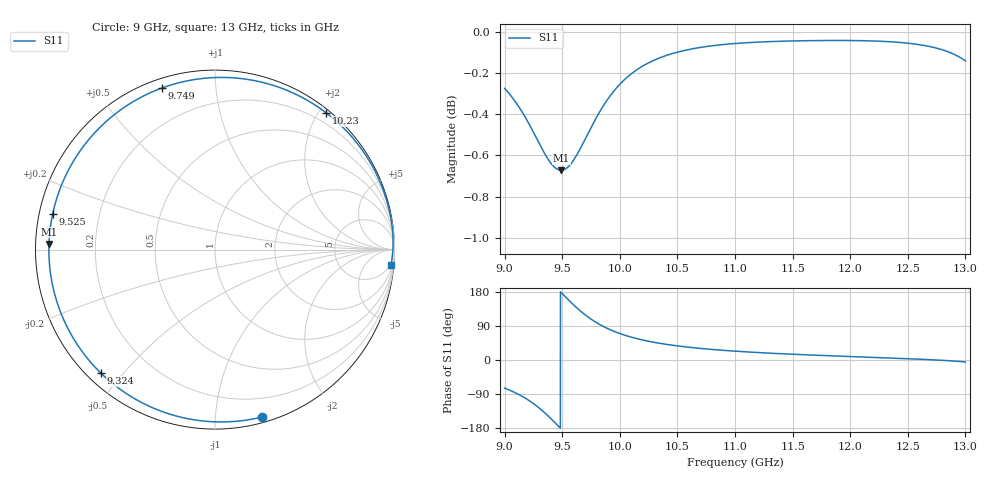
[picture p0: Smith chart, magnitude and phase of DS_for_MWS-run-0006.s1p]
! TOUCHSTONE file generated by CST DESIGN STUDIO
! Date and time: Tue Feb  4 16:22:54 2025
! Project name: C:\Work\MatlabApps\UnitCellOptimizationMatlab\CST\unitcell.cst
! Tree item: Tasks\Sweep1\SPara1\S-Parameters
! Header version: 2024
! Port assignment regex: !\s*Touchstone port\s*([0-9]+)\s*=\s*(CST MWS port|CST DES external port|CST DES block port)\s*(.+)\s* \(\"(.*)\"\)(\s*mode\s*([0-9]+))?.*
! Touchstone port assignment:
! Touchstone port 1 = CST DES external port 1 ("")
# GHz S MA R 50
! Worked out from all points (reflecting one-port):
!   4001 points, 9 GHz to 13 GHz, reference 50 ohm
!   lowest |S11| = -0.7 dB at 9.491 GHz (marker M1), VSWR 25.86, Z = 1.93 + j0.85 ohm
!   phase of S11 starts at -74 deg and turns -291 deg over the sweep
!   S11 on the Smith chart (normalised r, x): 9 GHz: 0.04, -1.32; 9.324 GHz: 0.04, -0.44; 9.525 GHz: 0.04, +0.11; 9.749 GHz: 0.04, +0.72; 10.23 GHz: 0.05, +2.10; 13 GHz: 4, -22
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9  0.9689 -74.3
9.086  0.9624 -85.4
9.187  0.9526 -102.1
9.258  0.9445 -116.7
9.324  0.9368 -132.8
9.368  0.9322 -144.8
9.415  0.9282 -158.5
9.454  0.9262 -170.4
9.491  0.9255 178.1
9.5  0.9256 175.2
9.525  0.9261 167.5
9.578  0.9291 151.5
9.639  0.9348 134.3
9.693  0.9411 120.6
9.749  0.9478 108.1
9.855  0.9593 88.9
9.926  0.9657 78.7
10  0.9712 69.9
10.107  0.9772 59.7
10.228  0.9822 50.8
10.354  0.9858 43.7
10.5  0.9888 37.3
10.722  0.9916 29.9
11  0.9936 23.3
11.5  0.995 15.2
12  0.9952 9.2
12.5  0.9938 3.5
13  0.984 -5.1
